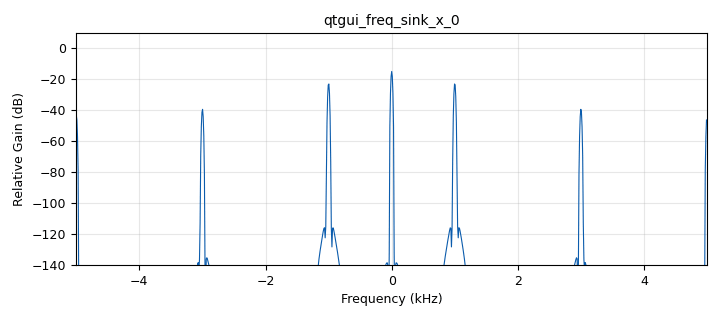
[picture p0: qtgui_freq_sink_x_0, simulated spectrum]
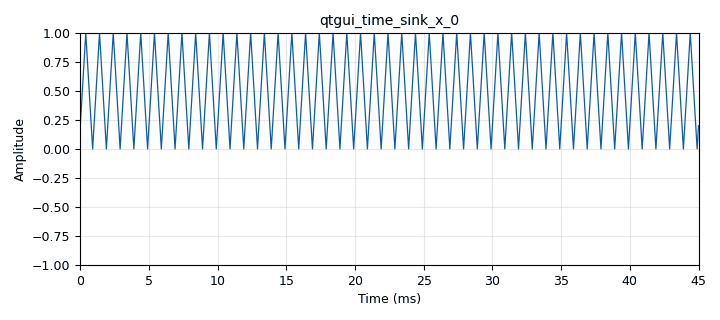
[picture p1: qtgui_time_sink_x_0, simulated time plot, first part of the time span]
options:
  parameters:
    author: Santiago_Posada_Nicolas_Rojas_B1C_G1
    generate_options: qt_gui
    id: punto_5
    output_language: python
    title: Not titled yet
  states: {}

blocks:
- name: freq
  id: variable_qtgui_range
  parameters:
    label: frequency
    start: '1000'
    step: '1000'
    stop: '40000'
    value: '2000'
  states: {}
- name: samp_rate
  id: variable_qtgui_range
  parameters:
    label: frecuencia de muestreo
    start: '1000'
    step: '1000'
    stop: '80000'
    value: '10000'
  states: {}
- name: analog_sig_source_x_0
  id: analog_sig_source_x
  parameters:
    amp: '1'
    freq: '1000'
    offset: '0'
    phase: '0'
    samp_rate: samp_rate
    type: float
    waveform: analog.GR_TRI_WAVE
  states: {}
- name: blocks_throttle2_0
  id: blocks_throttle2
  parameters:
    samples_per_second: samp_rate
    type: float
  states: {}
- name: qtgui_freq_sink_x_0
  id: qtgui_freq_sink_x
  parameters:
    bw: samp_rate
    fc: '0'
    fftsize: '1024'
    type: float
  states: {}
- name: qtgui_time_sink_x_0
  id: qtgui_time_sink_x
  parameters:
    size: '1024'
    srate: samp_rate
    type: float
  states: {}

connections:
- [analog_sig_source_x_0, '0', blocks_throttle2_0, '0']
- [blocks_throttle2_0, '0', qtgui_freq_sink_x_0, '0']
- [blocks_throttle2_0, '0', qtgui_time_sink_x_0, '0']

metadata:
  file_format: 1
  grc_version: v3.10.11.0-89-ga17f69e7
